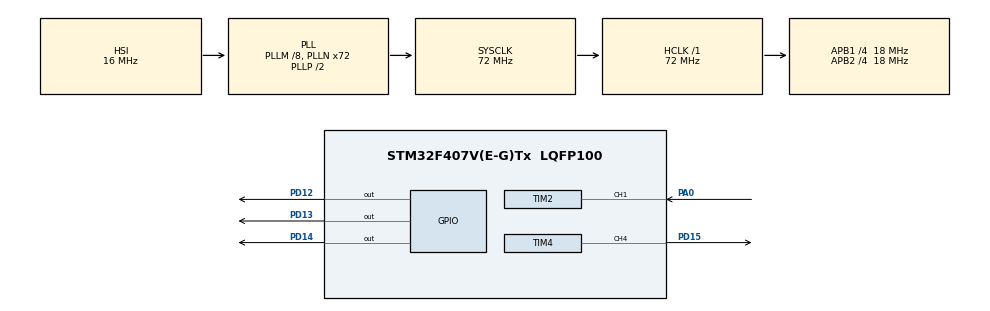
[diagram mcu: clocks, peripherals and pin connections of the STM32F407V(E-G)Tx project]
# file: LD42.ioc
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Mcu.Family=STM32F4
Mcu.Name=STM32F407V(E-G)Tx
Mcu.Package=LQFP100
NVIC.PriorityGroup=NVIC_PRIORITYGROUP_4
NVIC.TIM4_IRQn=true\:0\:0\:false\:false\:true\:true\:true\:true
PA0-WKUP.Signal=S_TIM2_CH1_ETR
PD12.Signal=GPIO_Output
PD13.Signal=GPIO_Output
PD14.Signal=GPIO_Output
PD15.Signal=S_TIM4_CH4
PH0-OSC_IN.Signal=RCC_OSC_IN
PH1-OSC_OUT.Signal=RCC_OSC_OUT
ProjectManager.HeapSize=0x200
ProjectManager.StackSize=0x400
ProjectManager.TargetToolchain=STM32CubeIDE
RCC.48MHZClocksFreq_Value=36000000
RCC.AHBFreq_Value=72000000
RCC.APB1CLKDivider=RCC_HCLK_DIV4
RCC.APB1Freq_Value=18000000
RCC.APB1TimFreq_Value=36000000
RCC.APB2CLKDivider=RCC_HCLK_DIV4
RCC.APB2Freq_Value=18000000
RCC.APB2TimFreq_Value=36000000
RCC.CortexFreq_Value=72000000
RCC.HCLKFreq_Value=72000000
RCC.HSE_VALUE=25000000
RCC.HSI_VALUE=16000000
RCC.LSE_VALUE=32768
RCC.PLLM=8
RCC.PLLN=72
RCC.SYSCLKFreq_VALUE=72000000
RCC.SYSCLKSource=RCC_SYSCLKSOURCE_PLLCLK
RCC.VCOOutputFreq_Value=144000000
SH.S_TIM2_CH1_ETR.0=TIM2_CH1,Input_Capture1_from_TI1
SH.S_TIM4_CH4.0=TIM4_CH4,PWM Generation4 CH4
TIM2.Channel-Input_Capture1_from_TI1=TIM_CHANNEL_1
TIM2.ICPolarity_CH1=TIM_INPUTCHANNELPOLARITY_FALLING
TIM2.Period=12000-1
TIM2.Prescaler=36000-1
TIM4.Channel-PWM\ Generation4\ CH4=TIM_CHANNEL_4
TIM4.Period=2000-1
TIM4.Prescaler=36000-1
TIM4.Pulse-PWM\ Generation4\ CH4=1000
VP_TIM2_VS_ClockSourceINT.Mode=Internal
VP_TIM4_VS_ClockSourceINT.Mode=Internal
board=custom

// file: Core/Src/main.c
/* USER CODE BEGIN Header */
/**
  ******************************************************************************
  * @file           : main.c
  * @brief          : Main program body
  ******************************************************************************
  * @attention
  *
  * Copyright (c) 2024 STMicroelectronics.
  * All rights reserved.
  *
  * This software is licensed under terms that can be found in the LICENSE file
  * in the root directory of this software component.
  * If no LICENSE file comes with this software, it is provided AS-IS.
  *
  ******************************************************************************
  */
/* USER CODE END Header */
#include "main.h"

TIM_HandleTypeDef htim2;
TIM_HandleTypeDef htim4;

void SystemClock_Config(void);
static void MX_GPIO_Init(void);
static void MX_TIM2_Init(void);
static void MX_TIM4_Init(void);

int main(void)
{

  /* MCU Configuration--------------------------------------------------------*/

  /* Reset of all peripherals, Initializes the Flash interface and the Systick. */
  HAL_Init();

  /* Configure the system clock */
  SystemClock_Config();

  /* Initialize all configured peripherals */
  MX_GPIO_Init();
  MX_TIM2_Init();
  MX_TIM4_Init();
  /* USER CODE BEGIN 2 */
  HAL_TIM_IC_Start_IT(&htim2, TIM_CHANNEL_1);
  HAL_TIM_IC_Start_IT(&htim4, TIM_CHANNEL_4);

  int counter = 0;

  /* USER CODE END 2 */

  /* Infinite loop */
  /* USER CODE BEGIN WHILE */
  while (1)
  {
	  counter = __HAL_TIM_GET_COUNTER(&htim2);

	  if (HAL_GPIO_ReadPin(GPIOA, GPIO_PIN_0)) {
		  if(counter > 0 && counter <= 4000) {
			  HAL_GPIO_WritePin(GPIOD, GPIO_PIN_12, GPIO_PIN_RESET);
			  HAL_GPIO_WritePin(GPIOD, GPIO_PIN_13, GPIO_PIN_RESET);
			  HAL_GPIO_WritePin(GPIOD, GPIO_PIN_14, GPIO_PIN_RESET);
		  	  HAL_GPIO_WritePin(GPIOD, GPIO_PIN_12, GPIO_PIN_SET);
		  }
		  if(counter > 4000 && counter <= 8000) {
			  HAL_GPIO_WritePin(GPIOD, GPIO_PIN_12, GPIO_PIN_RESET);
			  HAL_GPIO_WritePin(GPIOD, GPIO_PIN_13, GPIO_PIN_RESET);
			  HAL_GPIO_WritePin(GPIOD, GPIO_PIN_14, GPIO_PIN_RESET);
			  HAL_GPIO_WritePin(GPIOD, GPIO_PIN_12, GPIO_PIN_SET);
			  HAL_GPIO_WritePin(GPIOD, GPIO_PIN_13, GPIO_PIN_SET);
		  }
		  if(counter > 8000 && counter <= 12000) {
			  HAL_GPIO_WritePin(GPIOD, GPIO_PIN_12, GPIO_PIN_RESET);
		  	  HAL_GPIO_WritePin(GPIOD, GPIO_PIN_13, GPIO_PIN_RESET);
		  	  HAL_GPIO_WritePin(GPIOD, GPIO_PIN_14, GPIO_PIN_RESET);
		  	  HAL_GPIO_WritePin(GPIOD, GPIO_PIN_12, GPIO_PIN_SET);
		  	  HAL_GPIO_WritePin(GPIOD, GPIO_PIN_13, GPIO_PIN_SET);
		  	  HAL_GPIO_WritePin(GPIOD, GPIO_PIN_14, GPIO_PIN_SET);
		  }
	  }

    /* USER CODE END WHILE */

  }
}

void SystemClock_Config(void)
{
  RCC_OscInitTypeDef RCC_OscInitStruct = {0};
  RCC_ClkInitTypeDef RCC_ClkInitStruct = {0};

  /** Configure the main internal regulator output voltage
  */
  __HAL_RCC_PWR_CLK_ENABLE();
  __HAL_PWR_VOLTAGESCALING_CONFIG(PWR_REGULATOR_VOLTAGE_SCALE1);

  /** Initializes the RCC Oscillators according to the specified parameters
  * in the RCC_OscInitTypeDef structure.
  */
  RCC_OscInitStruct.OscillatorType = RCC_OSCILLATORTYPE_HSI;
  RCC_OscInitStruct.HSIState = RCC_HSI_ON;
  RCC_OscInitStruct.HSICalibrationValue = RCC_HSICALIBRATION_DEFAULT;
  RCC_OscInitStruct.PLL.PLLState = RCC_PLL_ON;
  RCC_OscInitStruct.PLL.PLLSource = RCC_PLLSOURCE_HSI;
  RCC_OscInitStruct.PLL.PLLM = 8;
  RCC_OscInitStruct.PLL.PLLN = 72;
  RCC_OscInitStruct.PLL.PLLP = RCC_PLLP_DIV2;
  RCC_OscInitStruct.PLL.PLLQ = 4;
  if (HAL_RCC_OscConfig(&RCC_OscInitStruct) != HAL_OK)
  {
    Error_Handler();
  }

  /** Initializes the CPU, AHB and APB buses clocks
  */
  RCC_ClkInitStruct.ClockType = RCC_CLOCKTYPE_HCLK|RCC_CLOCKTYPE_SYSCLK
                              |RCC_CLOCKTYPE_PCLK1|RCC_CLOCKTYPE_PCLK2;
  RCC_ClkInitStruct.SYSCLKSource = RCC_SYSCLKSOURCE_PLLCLK;
  RCC_ClkInitStruct.AHBCLKDivider = RCC_SYSCLK_DIV1;
  RCC_ClkInitStruct.APB1CLKDivider = RCC_HCLK_DIV4;
  RCC_ClkInitStruct.APB2CLKDivider = RCC_HCLK_DIV4;

  if (HAL_RCC_ClockConfig(&RCC_ClkInitStruct, FLASH_LATENCY_2) != HAL_OK)
  {
    Error_Handler();
  }
}

static void MX_TIM2_Init(void)
{

  TIM_ClockConfigTypeDef sClockSourceConfig = {0};
  TIM_MasterConfigTypeDef sMasterConfig = {0};
  TIM_IC_InitTypeDef sConfigIC = {0};

  htim2.Instance = TIM2;
  htim2.Init.Prescaler = 36000-1;
  htim2.Init.CounterMode = TIM_COUNTERMODE_UP;
  htim2.Init.Period = 12000-1;
  htim2.Init.ClockDivision = TIM_CLOCKDIVISION_DIV1;
  htim2.Init.AutoReloadPreload = TIM_AUTORELOAD_PRELOAD_DISABLE;
  if (HAL_TIM_Base_Init(&htim2) != HAL_OK)
  {
    Error_Handler();
  }
  sClockSourceConfig.ClockSource = TIM_CLOCKSOURCE_INTERNAL;
  if (HAL_TIM_ConfigClockSource(&htim2, &sClockSourceConfig) != HAL_OK)
  {
    Error_Handler();
  }
  if (HAL_TIM_IC_Init(&htim2) != HAL_OK)
  {
    Error_Handler();
  }
  sMasterConfig.MasterOutputTrigger = TIM_TRGO_RESET;
  sMasterConfig.MasterSlaveMode = TIM_MASTERSLAVEMODE_DISABLE;
  if (HAL_TIMEx_MasterConfigSynchronization(&htim2, &sMasterConfig) != HAL_OK)
  {
    Error_Handler();
  }
  sConfigIC.ICPolarity = TIM_INPUTCHANNELPOLARITY_FALLING;
  sConfigIC.ICSelection = TIM_ICSELECTION_DIRECTTI;
  sConfigIC.ICPrescaler = TIM_ICPSC_DIV1;
  sConfigIC.ICFilter = 0;
  if (HAL_TIM_IC_ConfigChannel(&htim2, &sConfigIC, TIM_CHANNEL_1) != HAL_OK)
  {
    Error_Handler();
  }

}

static void MX_TIM4_Init(void)
{

  TIM_ClockConfigTypeDef sClockSourceConfig = {0};
  TIM_MasterConfigTypeDef sMasterConfig = {0};
  TIM_OC_InitTypeDef sConfigOC = {0};

  htim4.Instance = TIM4;
  htim4.Init.Prescaler = 36000-1;
  htim4.Init.CounterMode = TIM_COUNTERMODE_UP;
  htim4.Init.Period = 2000-1;
  htim4.Init.ClockDivision = TIM_CLOCKDIVISION_DIV1;
  htim4.Init.AutoReloadPreload = TIM_AUTORELOAD_PRELOAD_DISABLE;
  if (HAL_TIM_Base_Init(&htim4) != HAL_OK)
  {
    Error_Handler();
  }
  sClockSourceConfig.ClockSource = TIM_CLOCKSOURCE_INTERNAL;
  if (HAL_TIM_ConfigClockSource(&htim4, &sClockSourceConfig) != HAL_OK)
  {
    Error_Handler();
  }
  if (HAL_TIM_PWM_Init(&htim4) != HAL_OK)
  {
    Error_Handler();
  }
  sMasterConfig.MasterOutputTrigger = TIM_TRGO_RESET;
  sMasterConfig.MasterSlaveMode = TIM_MASTERSLAVEMODE_DISABLE;
  if (HAL_TIMEx_MasterConfigSynchronization(&htim4, &sMasterConfig) != HAL_OK)
  {
    Error_Handler();
  }
  sConfigOC.OCMode = TIM_OCMODE_PWM1;
  sConfigOC.Pulse = 1000;
  sConfigOC.OCPolarity = TIM_OCPOLARITY_HIGH;
  sConfigOC.OCFastMode = TIM_OCFAST_DISABLE;
  if (HAL_TIM_PWM_ConfigChannel(&htim4, &sConfigOC, TIM_CHANNEL_4) != HAL_OK)
  {
    Error_Handler();
  }
  HAL_TIM_MspPostInit(&htim4);

}

static void MX_GPIO_Init(void)
{
  GPIO_InitTypeDef GPIO_InitStruct = {0};

  /* GPIO Ports Clock Enable */
  __HAL_RCC_GPIOH_CLK_ENABLE();
  __HAL_RCC_GPIOA_CLK_ENABLE();
  __HAL_RCC_GPIOD_CLK_ENABLE();

  /*Configure GPIO pin Output Level */
  HAL_GPIO_WritePin(GPIOD, GPIO_PIN_12|GPIO_PIN_13|GPIO_PIN_14, GPIO_PIN_RESET);

  /*Configure GPIO pins : PD12 PD13 PD14 */
  GPIO_InitStruct.Pin = GPIO_PIN_12|GPIO_PIN_13|GPIO_PIN_14;
  GPIO_InitStruct.Mode = GPIO_MODE_OUTPUT_PP;
  GPIO_InitStruct.Pull = GPIO_NOPULL;
  GPIO_InitStruct.Speed = GPIO_SPEED_FREQ_LOW;
  HAL_GPIO_Init(GPIOD, &GPIO_InitStruct);

}

void Error_Handler(void)
{
  __disable_irq();
  while (1)
  {
  }
}
